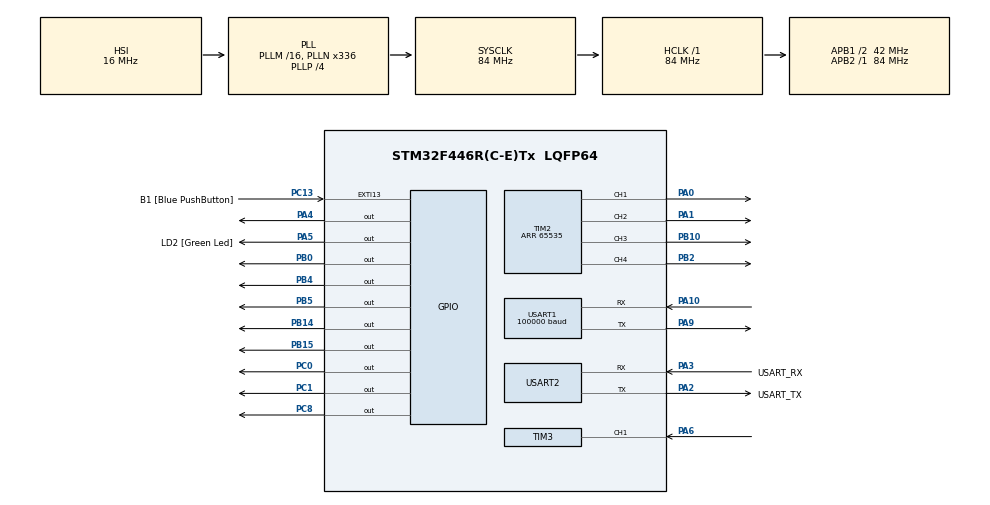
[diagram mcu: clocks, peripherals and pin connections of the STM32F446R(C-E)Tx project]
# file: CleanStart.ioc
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Mcu.Family=STM32F4
Mcu.Name=STM32F446R(C-E)Tx
Mcu.Package=LQFP64
NVIC.PriorityGroup=NVIC_PRIORITYGROUP_4
NVIC.TIM1_UP_TIM10_IRQn=true\:0\:0\:false\:false\:true\:false\:true\:true
NVIC.TIM3_IRQn=true\:7\:0\:true\:false\:true\:true\:true\:true
NVIC.TimeBase=TIM1_UP_TIM10_IRQn
NVIC.TimeBaseIP=TIM1
NVIC.USART1_IRQn=true\:6\:0\:true\:false\:true\:true\:true\:true
PA0-WKUP.Signal=S_TIM2_CH1_ETR
PA1.Signal=S_TIM2_CH2
PA10.Mode=Asynchronous
PA10.Signal=USART1_RX
PA13.GPIO_Label=TMS
PA13.Mode=Serial_Wire
PA13.Signal=SYS_JTMS-SWDIO
PA14.GPIO_Label=TCK
PA14.Mode=Serial_Wire
PA14.Signal=SYS_JTCK-SWCLK
PA2.GPIO_Label=USART_TX
PA2.Mode=Asynchronous
PA2.Signal=USART2_TX
PA3.GPIO_Label=USART_RX
PA3.Mode=Asynchronous
PA3.Signal=USART2_RX
PA4.Signal=GPIO_Output
PA5.GPIO_Label=LD2 [Green Led]
PA5.Signal=GPIO_Output
PA6.Signal=S_TIM3_CH1
PA9.Mode=Asynchronous
PA9.Signal=USART1_TX
PB0.Signal=GPIO_Output
PB10.Signal=S_TIM2_CH3
PB14.Signal=GPIO_Output
PB15.Signal=GPIO_Output
PB2.Signal=S_TIM2_CH4
PB3.GPIO_Label=SWO
PB3.Signal=SYS_JTDO-SWO
PB4.Signal=GPIO_Output
PB5.Signal=GPIO_Output
PC0.Signal=GPIO_Output
PC1.Signal=GPIO_Output
PC13.GPIO_Label=B1 [Blue PushButton]
PC13.GPIO_ModeDefaultEXTI=GPIO_MODE_IT_FALLING
PC13.Signal=GPXTI13
PC14-OSC32_IN.Mode=LSE-External-Oscillator
PC14-OSC32_IN.Signal=RCC_OSC32_IN
PC15-OSC32_OUT.Mode=LSE-External-Oscillator
PC15-OSC32_OUT.Signal=RCC_OSC32_OUT
PC8.Signal=GPIO_Output
PH0-OSC_IN.Mode=HSE-External-Oscillator
PH0-OSC_IN.Signal=RCC_OSC_IN
PH1-OSC_OUT.Mode=HSE-External-Oscillator
PH1-OSC_OUT.Signal=RCC_OSC_OUT
ProjectManager.HeapSize=0x200
ProjectManager.StackSize=0x400
ProjectManager.TargetToolchain=STM32CubeIDE
RCC.48MHZClocksFreq_Value=84000000
RCC.AHBFreq_Value=84000000
RCC.APB1CLKDivider=RCC_HCLK_DIV2
RCC.APB1Freq_Value=42000000
RCC.APB1TimFreq_Value=84000000
RCC.APB2Freq_Value=84000000
RCC.APB2TimFreq_Value=84000000
RCC.CortexFreq_Value=84000000
RCC.FLatency-AdvancedSettings=FLASH_LATENCY_2
RCC.HCLKFreq_Value=84000000
RCC.HSE_VALUE=8000000
RCC.HSI_VALUE=16000000
RCC.PLLN=336
RCC.PLLP=RCC_PLLP_DIV4
RCC.SYSCLKFreq_VALUE=84000000
RCC.SYSCLKSource=RCC_SYSCLKSOURCE_PLLCLK
RCC.USBFreq_Value=168000000
RCC.VCOOutputFreq_Value=336000000
SH.S_TIM2_CH1_ETR.0=TIM2_CH1,PWM Generation1 CH1
SH.S_TIM2_CH2.0=TIM2_CH2,PWM Generation2 CH2
SH.S_TIM2_CH3.0=TIM2_CH3,PWM Generation3 CH3
SH.S_TIM2_CH4.0=TIM2_CH4,PWM Generation4 CH4
SH.S_TIM3_CH1.0=TIM3_CH1,Input_Capture1_from_TI1
TIM2.Channel-PWM\ Generation1\ CH1=TIM_CHANNEL_1
TIM2.Channel-PWM\ Generation2\ CH2=TIM_CHANNEL_2
TIM2.Channel-PWM\ Generation3\ CH3=TIM_CHANNEL_3
TIM2.Channel-PWM\ Generation4\ CH4=TIM_CHANNEL_4
TIM2.Period=65535
TIM3.Channel-Input_Capture1_from_TI1=TIM_CHANNEL_1
TIM3.ICPolarity_CH1=TIM_INPUTCHANNELPOLARITY_BOTHEDGE
TIM3.Prescaler=84-1
USART1.BaudRate=100000
USART1.Mode=MODE_RX
USART1.Parity=PARITY_EVEN
USART1.StopBits=STOPBITS_2
USART1.VirtualMode=VM_ASYNC
USART2.VirtualMode=VM_ASYNC
VP_SYS_VS_tim1.Mode=TIM1
VP_TIM2_VS_ClockSourceINT.Mode=Internal
VP_TIM3_VS_ClockSourceINT.Mode=Internal
board=NUCLEO-F446RE

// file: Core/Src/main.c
/* USER CODE BEGIN Header */
/**
  ******************************************************************************
  * @file           : main.c
  * @brief          : Main program body
  ******************************************************************************
  * @attention
  *
  * Copyright (c) 2023 STMicroelectronics.
  * All rights reserved.
  *
  * This software is licensed under terms that can be found in the LICENSE file
  * in the root directory of this software component.
  * If no LICENSE file comes with this software, it is provided AS-IS.
  *
  ******************************************************************************
  */
/* USER CODE END Header */
#include "main.h"
#include "tim.h"
#include "usart.h"
#include "gpio.h"

/* USER CODE BEGIN Includes */
#include "FreeRTOS.h"
#include "task.h"
#include "queue.h"
#include "semphr.h"
#include "timers.h"
/* USER CODE END Includes */

/* USER CODE BEGIN PV */
volatile uint16_t channel_SBUS[18];
float max_RC_Value = 1811.0, min_RC_Value = 60.0, throttle_perct = 0.0, tot_TIM = 65535;
int32_t CH1_DC = 0, CH2_DC = 0, CH3_DC = 0, CH4_DC = 0;

volatile uint16_t failsafe_status; //Failsafe status transmitted if signal lost
volatile uint8_t buffer_SBUS[25]; //SBUS send a 25 byte packet
volatile uint16_t channels_SBUS[18]; //SBUS has 16 channels; Channels are 11 bits each
volatile uint16_t counter;

volatile uint16_t counter;
volatile uint32_t pulseWidth;
volatile float distance;
volatile float distances;

TaskHandle_t led_handler;
TaskHandle_t motor_handler;
TaskHandle_t auto_handler;

SemaphoreHandle_t bin_sem;

QueueHandle_t queue_motor;
QueueHandle_t queue_autonomous;

/* USER CODE END PV */

void SystemClock_Config(void);
/* USER CODE BEGIN PFP */
void led_blink(void *parameters);
void sbus_recieve(void *parameters);
void motor_task(void *parameters);
void autonomy_mode(void *parameters);

/* USER CODE END PFP */

int main(void)
{

  /* MCU Configuration--------------------------------------------------------*/

  /* Reset of all peripherals, Initializes the Flash interface and the Systick. */
  HAL_Init();

  /* Configure the system clock */
  SystemClock_Config();

  /* Initialize all configured peripherals */
  MX_GPIO_Init();
  MX_USART2_UART_Init();
  MX_USART1_UART_Init();
  MX_TIM2_Init();
  MX_TIM3_Init();
  /* USER CODE BEGIN 2 */
  queue_motor = xQueueCreate(18, sizeof(uint16_t[18]));
  queue_autonomous = xQueueCreate(1, sizeof(float));

  bin_sem = xSemaphoreCreateBinary();

  if(bin_sem != NULL)
  {
	  HAL_TIM_IC_Start_IT(&htim3, TIM_CHANNEL_1);
	  xTaskCreate(led_blink, "Led Blink", 256, NULL, 1, &led_handler);
	  xTaskCreate(motor_task, "MotorTask", 256, NULL, 2, &motor_handler);
	  xTaskCreate(autonomy_mode, "Autonomy Mode", 256, NULL, 2, &auto_handler);
	  HAL_UART_Receive_IT(&huart1, buffer_SBUS, 25);
	  HAL_TIM_PWM_Start(&htim2, TIM_CHANNEL_1);
	  HAL_TIM_PWM_Start(&htim2, TIM_CHANNEL_2);
	  HAL_TIM_PWM_Start(&htim2, TIM_CHANNEL_3);
	  HAL_TIM_PWM_Start(&htim2, TIM_CHANNEL_4);
	  vTaskStartScheduler();
  }

  /* USER CODE END 2 */

  /* Infinite loop */
  while (1)
  {

  }
}

void SystemClock_Config(void)
{
  RCC_OscInitTypeDef RCC_OscInitStruct = {0};
  RCC_ClkInitTypeDef RCC_ClkInitStruct = {0};

  /** Configure the main internal regulator output voltage
  */
  __HAL_RCC_PWR_CLK_ENABLE();
  __HAL_PWR_VOLTAGESCALING_CONFIG(PWR_REGULATOR_VOLTAGE_SCALE3);

  /** Initializes the RCC Oscillators according to the specified parameters
  * in the RCC_OscInitTypeDef structure.
  */
  RCC_OscInitStruct.OscillatorType = RCC_OSCILLATORTYPE_HSI;
  RCC_OscInitStruct.HSIState = RCC_HSI_ON;
  RCC_OscInitStruct.HSICalibrationValue = RCC_HSICALIBRATION_DEFAULT;
  RCC_OscInitStruct.PLL.PLLState = RCC_PLL_ON;
  RCC_OscInitStruct.PLL.PLLSource = RCC_PLLSOURCE_HSI;
  RCC_OscInitStruct.PLL.PLLM = 16;
  RCC_OscInitStruct.PLL.PLLN = 336;
  RCC_OscInitStruct.PLL.PLLP = RCC_PLLP_DIV4;
  RCC_OscInitStruct.PLL.PLLQ = 2;
  RCC_OscInitStruct.PLL.PLLR = 2;
  if (HAL_RCC_OscConfig(&RCC_OscInitStruct) != HAL_OK)
  {
    Error_Handler();
  }

  /** Initializes the CPU, AHB and APB buses clocks
  */
  RCC_ClkInitStruct.ClockType = RCC_CLOCKTYPE_HCLK|RCC_CLOCKTYPE_SYSCLK
                              |RCC_CLOCKTYPE_PCLK1|RCC_CLOCKTYPE_PCLK2;
  RCC_ClkInitStruct.SYSCLKSource = RCC_SYSCLKSOURCE_PLLCLK;
  RCC_ClkInitStruct.AHBCLKDivider = RCC_SYSCLK_DIV1;
  RCC_ClkInitStruct.APB1CLKDivider = RCC_HCLK_DIV2;
  RCC_ClkInitStruct.APB2CLKDivider = RCC_HCLK_DIV1;

  if (HAL_RCC_ClockConfig(&RCC_ClkInitStruct, FLASH_LATENCY_2) != HAL_OK)
  {
    Error_Handler();
  }
}

/* USER CODE BEGIN 4 */

void HAL_TIM_IC_CaptureCallback(TIM_HandleTypeDef *htim){
	BaseType_t xHigherPriorityTaskWoken_V2;
	if (htim->Channel == HAL_TIM_ACTIVE_CHANNEL_1){
		if((HAL_GPIO_ReadPin(GPIOA, GPIO_PIN_6)) == 1){

			__HAL_TIM_SET_COUNTER(&htim3, 0);

		}else{
			pulseWidth = __HAL_TIM_GET_COUNTER(&htim3);
			distance = ((float)pulseWidth * 0.0343) / 2.0;

			xQueueSendFromISR(queue_autonomous,&distance,&xHigherPriorityTaskWoken_V2);
			portYIELD_FROM_ISR( xHigherPriorityTaskWoken_V2);
		}
	}
}

void motor_task(void *parameters)
{
	BaseType_t xStatus;
	while(1)
	{
		xStatus = xQueueReceive( queue_motor, channel_SBUS, portMAX_DELAY );
		/*****************************
		 * THROTTLE CONTROL
		 ****************************/
	if (xStatus == pdPASS) {
		if(channel_SBUS[0]){
			throttle_perct = 1 - ((max_RC_Value - ((float)channel_SBUS[0] - 60)) / max_RC_Value);

			if(channel_SBUS[1] >= 872 && channel_SBUS[1] <= 1072){ // 990 is middle condition, 172 low, 1808 high

				/*****************************
				* FORWARD
				****************************/
				if(channel_SBUS[2] >= 576 && channel_SBUS[2] <= 1292){
					// Back Left Forward
					HAL_GPIO_WritePin(GPIOC, GPIO_PIN_1, 1);
					HAL_GPIO_WritePin(GPIOC, GPIO_PIN_0, 0);

					// Back Right Forward
					HAL_GPIO_WritePin(GPIOA, GPIO_PIN_4, 0);
					HAL_GPIO_WritePin(GPIOB, GPIO_PIN_0, 1);

					// Front Left Forward
					HAL_GPIO_WritePin(GPIOB, GPIO_PIN_15, 0);
					HAL_GPIO_WritePin(GPIOB, GPIO_PIN_14, 1);

					// Front Right Forward
					HAL_GPIO_WritePin(GPIOB, GPIO_PIN_4, 0);
					HAL_GPIO_WritePin(GPIOB, GPIO_PIN_5, 1);

				TIM2->CCR1 = CH1_DC;
				TIM2->CCR2 = CH2_DC;
				TIM2->CCR3 = CH3_DC;
				TIM2->CCR4 = CH4_DC;
				CH1_DC = CH2_DC = CH3_DC = CH4_DC = throttle_perct * tot_TIM;

				/*****************************
				* BACKWARDS
				****************************/
				} else if(channel_SBUS[2] >= 172 && channel_SBUS[2] <= 376){
					// Back Left Backward
					HAL_GPIO_WritePin(GPIOC, GPIO_PIN_1, 0);
					HAL_GPIO_WritePin(GPIOC, GPIO_PIN_0, 1);

					// Back Right Backward
					HAL_GPIO_WritePin(GPIOA, GPIO_PIN_4, 1);
					HAL_GPIO_WritePin(GPIOB, GPIO_PIN_0, 0);

					// Front Left Backward
					HAL_GPIO_WritePin(GPIOB, GPIO_PIN_15, 1);
					HAL_GPIO_WritePin(GPIOB, GPIO_PIN_14, 0);

					// Front Right Backward
					HAL_GPIO_WritePin(GPIOB, GPIO_PIN_4, 1);
					HAL_GPIO_WritePin(GPIOB, GPIO_PIN_5, 0);

					TIM2->CCR1 = CH1_DC;
					TIM2->CCR2 = CH2_DC;
					TIM2->CCR3 = CH3_DC;
					TIM2->CCR4 = CH4_DC;
					CH1_DC = CH2_DC = CH3_DC = CH4_DC = throttle_perct * tot_TIM;
				} else{
					TIM2->CCR1 = CH1_DC;
					TIM2->CCR2 = CH2_DC;
					TIM2->CCR3 = CH3_DC;
					TIM2->CCR4 = CH4_DC;
					CH1_DC = CH2_DC = CH3_DC = CH4_DC = 0;
				}
			/*****************************
			* TURN LEFT
			****************************/
			} else if(channel_SBUS[1] < 872){
				// Back Left Backward
				HAL_GPIO_WritePin(GPIOC, GPIO_PIN_1, 0);
				HAL_GPIO_WritePin(GPIOC, GPIO_PIN_0, 1);

				// Back Right Forward
				HAL_GPIO_WritePin(GPIOA, GPIO_PIN_4, 0);
				HAL_GPIO_WritePin(GPIOB, GPIO_PIN_0, 1);

				// Front Left Backward
				HAL_GPIO_WritePin(GPIOB, GPIO_PIN_15, 1);
				HAL_GPIO_WritePin(GPIOB, GPIO_PIN_14, 0);

				// Front Right Forward
				HAL_GPIO_WritePin(GPIOB, GPIO_PIN_4, 0);
				HAL_GPIO_WritePin(GPIOB, GPIO_PIN_5, 1);

				TIM2->CCR1 = CH1_DC;
				TIM2->CCR2 = CH2_DC;
				TIM2->CCR3 = CH3_DC;
				TIM2->CCR4 = CH4_DC;
				CH1_DC = CH2_DC = CH3_DC = CH4_DC = throttle_perct * tot_TIM;

			/*****************************
			* TURN RIGHT
			****************************/
			} else if(channel_SBUS[1] > 1072){
				// Back Left Forward
				HAL_GPIO_WritePin(GPIOC, GPIO_PIN_1, 1);
				HAL_GPIO_WritePin(GPIOC, GPIO_PIN_0, 0);

				// Back Right Backward
				HAL_GPIO_WritePin(GPIOA, GPIO_PIN_4, 1);
				HAL_GPIO_WritePin(GPIOB, GPIO_PIN_0, 0);

				// Front Left Forward
				HAL_GPIO_WritePin(GPIOB, GPIO_PIN_15, 0);
				HAL_GPIO_WritePin(GPIOB, GPIO_PIN_14, 1);

				// Front Right Backward
				HAL_GPIO_WritePin(GPIOB, GPIO_PIN_4, 1);
				HAL_GPIO_WritePin(GPIOB, GPIO_PIN_5, 0);

				TIM2->CCR1 = CH1_DC;
				TIM2->CCR2 = CH2_DC;
				TIM2->CCR3 = CH3_DC;
				TIM2->CCR4 = CH4_DC;
				CH1_DC = CH2_DC = CH3_DC = CH4_DC = throttle_perct * tot_TIM;
				}
			}
		}
	}
}

void autonomy_mode(void *parameters)
{
	vTaskDelay(pdMS_TO_TICKS(500));
	BaseType_t xHigherPriorityTaskWoken_V2;

	while(1)
	{
		HAL_GPIO_WritePin(GPIOC, GPIO_PIN_8, 1);
		vTaskDelay(1);
		HAL_GPIO_WritePin(GPIOC, GPIO_PIN_8, 0);

		xQueueReceiveFromISR(queue_autonomous, &distances, &xHigherPriorityTaskWoken_V2);

		if(distances < 10)
		{
			/*****************************
			* BACKWARDS
			****************************/
			for(int i = 0; i < 100000; i++)
			{
				// Back Left Backward
				HAL_GPIO_WritePin(GPIOC, GPIO_PIN_1, 0);
				HAL_GPIO_WritePin(GPIOC, GPIO_PIN_0, 1);

				// Back Right Backward
				HAL_GPIO_WritePin(GPIOA, GPIO_PIN_4, 1);
				HAL_GPIO_WritePin(GPIOB, GPIO_PIN_0, 0);

				// Front Left Backward
				HAL_GPIO_WritePin(GPIOB, GPIO_PIN_15, 1);
				HAL_GPIO_WritePin(GPIOB, GPIO_PIN_14, 0);

				// Front Right Backward
				HAL_GPIO_WritePin(GPIOB, GPIO_PIN_4, 1);
				HAL_GPIO_WritePin(GPIOB, GPIO_PIN_5, 0);

				TIM2->CCR1 = CH1_DC;
				TIM2->CCR2 = CH2_DC;
				TIM2->CCR3 = CH3_DC;
				TIM2->CCR4 = CH4_DC;
				CH1_DC = CH2_DC = CH3_DC = CH4_DC = throttle_perct * tot_TIM;
			}

			/*****************************
			* Left
			****************************/
			for(int i = 0; i < 100000; i++)
			{
				// Back Left Backward
				HAL_GPIO_WritePin(GPIOC, GPIO_PIN_1, 0);
				HAL_GPIO_WritePin(GPIOC, GPIO_PIN_0, 1);

				// Back Right Forward
				HAL_GPIO_WritePin(GPIOA, GPIO_PIN_4, 0);
				HAL_GPIO_WritePin(GPIOB, GPIO_PIN_0, 1);

				// Front Left Backward
				HAL_GPIO_WritePin(GPIOB, GPIO_PIN_15, 1);
				HAL_GPIO_WritePin(GPIOB, GPIO_PIN_14, 0);

				// Front Right Forward
				HAL_GPIO_WritePin(GPIOB, GPIO_PIN_4, 0);
				HAL_GPIO_WritePin(GPIOB, GPIO_PIN_5, 1);

				TIM2->CCR1 = CH1_DC;
				TIM2->CCR2 = CH2_DC;
				TIM2->CCR3 = CH3_DC;
				TIM2->CCR4 = CH4_DC;
				CH1_DC = CH2_DC = CH3_DC = CH4_DC = throttle_perct * tot_TIM;
			}

		}else {
			/*****************************
			* FORWARD
			****************************/
			// Back Left Forward
			HAL_GPIO_WritePin(GPIOC, GPIO_PIN_1, 1);
			HAL_GPIO_WritePin(GPIOC, GPIO_PIN_0, 0);

			// Back Right Forward
			HAL_GPIO_WritePin(GPIOA, GPIO_PIN_4, 0);
			HAL_GPIO_WritePin(GPIOB, GPIO_PIN_0, 1);

			// Front Left Forward
			HAL_GPIO_WritePin(GPIOB, GPIO_PIN_15, 0);
			HAL_GPIO_WritePin(GPIOB, GPIO_PIN_14, 1);

			// Front Right Forward
			HAL_GPIO_WritePin(GPIOB, GPIO_PIN_4, 0);
			HAL_GPIO_WritePin(GPIOB, GPIO_PIN_5, 1);

			TIM2->CCR1 = CH1_DC;
			TIM2->CCR2 = CH2_DC;
			TIM2->CCR3 = CH3_DC;
			TIM2->CCR4 = CH4_DC;
			CH1_DC = CH2_DC = CH3_DC = CH4_DC = throttle_perct * tot_TIM;

		}

		vTaskDelay(pdMS_TO_TICKS(1));
	}
}

void led_blink(void *parameters)
{
	while(1)
	{
		xSemaphoreTake( bin_sem, portMAX_DELAY );
		HAL_GPIO_TogglePin(GPIOA, GPIO_PIN_5);
		if(buffer_SBUS[0] == 0x0F) //The first start byte should be 0x0F. Check if that's the case.
		{
			//Define the channels:
			/*
			 * Process:
			 * Each channel should hold 11 bits of data
			 * First buffer goes left as LSB, second buffer fills the remainder to 11 bit shifting right
			 * The next channel shift to get the remaining bits not used and ORs with next buffer item. Continue trying to get 11 bits per channel
			 * Of course, mask the 16 bit channels to just keep the 11 bits.
			 */
			channels_SBUS[0] = (buffer_SBUS[1] >> 0 | (buffer_SBUS[2] << 8)) & 0x07FF;//Extract 11 bits for channel 0.
			//EX: buffer[2](shifted):1111111100000000 buffer[1]:0000000011111111
			channels_SBUS[1] = (buffer_SBUS[2] >> 3 | (buffer_SBUS[3] << 5)) & 0x07FF;
			//EX: buffer[2] needs to combine the five bits left over with bits from next byte
			channels_SBUS[2] = (buffer_SBUS[3] >> 6 | (buffer_SBUS[4] << 2) | buffer_SBUS[5] << 10) & 0x07FF;
			//EX: buffer[3] needs two more bits, buffer[4] must be shifted to account for buffer 3, buffer[5] must be added in to make 11 bits
			channels_SBUS[3] = (buffer_SBUS[5] >> 1 | (buffer_SBUS[6] << 7)) & 0x07FF;
			channels_SBUS[4] = (buffer_SBUS[6] >> 4 | (buffer_SBUS[7] << 4)) & 0x07FF;
			channels_SBUS[5] = (buffer_SBUS[7] >> 7 | (buffer_SBUS[8] << 1) | buffer_SBUS[9] << 9) & 0x07FF;
			channels_SBUS[6] = (buffer_SBUS[9] >> 2 | (buffer_SBUS[10] << 6)) & 0x07FF;
			channels_SBUS[7] = (buffer_SBUS[10] >> 5 | (buffer_SBUS[11] << 3)) & 0x07FF;
			channels_SBUS[8] = (buffer_SBUS[12] << 0 | (buffer_SBUS[13] << 8)) & 0x07FF;
			channels_SBUS[9] = (buffer_SBUS[13] >> 3 | (buffer_SBUS[14] << 5)) & 0x07FF;
			channels_SBUS[10] = (buffer_SBUS[14] >> 6 | (buffer_SBUS[15] << 2) | buffer_SBUS[16] << 10) & 0x07FF;
			channels_SBUS[11] = (buffer_SBUS[16] >> 1 | (buffer_SBUS[17] << 7)) & 0x07FF;
			channels_SBUS[12] = (buffer_SBUS[17] >> 4 | (buffer_SBUS[18] << 4)) & 0x07FF;
			channels_SBUS[13] = (buffer_SBUS[18] >> 7 | (buffer_SBUS[19] << 1) | buffer_SBUS[20] << 9) & 0x07FF;
			channels_SBUS[14] = (buffer_SBUS[20] >> 2 | (buffer_SBUS[21] << 6)) & 0x07FF;
			channels_SBUS[15] = (buffer_SBUS[21] >> 5 | (buffer_SBUS[22] << 3)) & 0x07FF;

			if (buffer_SBUS[23] & (1 << 0))
			{
				channels_SBUS[16] = 1; //If byte 23(digital channel) is 1, then 17th channel is 1
			}else{
				channels_SBUS[16] = 0;
			}

			if (buffer_SBUS[23] & (1 << 1)) //Digital Channel 18.
			{
				channels_SBUS[17] = 1;
			}else {
				channels_SBUS[17] = 0;
			}

			//Failsafe for lost signal
			if (buffer_SBUS[23] & (1 << 2)) {
				failsafe_status = 0;
			}
			if (channels_SBUS[4] == 1811)
			{
				vTaskResume(auto_handler);
			} else
			{
				vTaskSuspend(auto_handler);
				xQueueSend(queue_motor, channels_SBUS, portMAX_DELAY);
			}

		}
		vTaskDelay(pdMS_TO_TICKS(100));
	}
}

void HAL_UART_RxCpltCallback(UART_HandleTypeDef *huart)
{
	BaseType_t xHigherPriorityTaskWoken;
	if (huart->Instance == USART1) {
	    HAL_UART_Receive_IT(&huart1, buffer_SBUS, 25);

	    xHigherPriorityTaskWoken = pdFALSE;
	    xSemaphoreGiveFromISR(bin_sem,&xHigherPriorityTaskWoken );
	    portYIELD_FROM_ISR( xHigherPriorityTaskWoken );

	}
}
/* USER CODE END 4 */

void HAL_TIM_PeriodElapsedCallback(TIM_HandleTypeDef *htim)
{
  if (htim->Instance == TIM1) {
    HAL_IncTick();
  }
}

void Error_Handler(void)
{
  __disable_irq();
  while (1)
  {
  }
}
